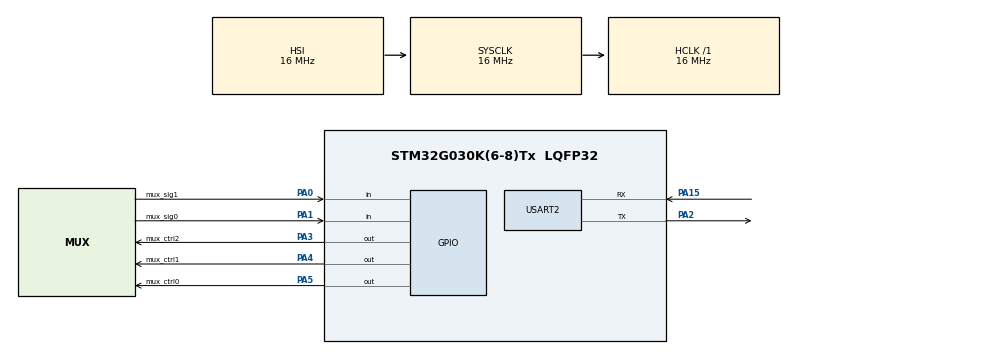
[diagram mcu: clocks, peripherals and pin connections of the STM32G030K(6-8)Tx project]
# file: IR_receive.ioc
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Mcu.Family=STM32G0
Mcu.Name=STM32G030K(6-8)Tx
Mcu.Package=LQFP32
NVIC.TIM1_BRK_UP_TRG_COM_IRQn=true\:0\:0\:false\:false\:true\:true\:true\:true
PA0.GPIO_Label=mux_sig1
PA0.Signal=GPIO_Input
PA1.GPIO_Label=mux_sig0
PA1.Signal=GPIO_Input
PA13.Mode=Serial_Wire
PA13.Signal=SYS_SWDIO
PA14-BOOT0.Mode=Serial_Wire
PA14-BOOT0.Signal=SYS_SWCLK
PA15.Mode=Asynchronous
PA15.Signal=USART2_RX
PA2.Mode=Asynchronous
PA2.Signal=USART2_TX
PA3.GPIO_Label=mux_ctrl2
PA3.Signal=GPIO_Output
PA4.GPIO_Label=mux_ctrl1
PA4.Signal=GPIO_Output
PA5.GPIO_Label=mux_ctrl0
PA5.Signal=GPIO_Output
ProjectManager.HeapSize=0x200
ProjectManager.StackSize=0x400
ProjectManager.TargetToolchain=STM32CubeIDE
RCC.AHBFreq_Value=16000000
RCC.CortexFreq_Value=16000000
RCC.EXTERNAL_CLOCK_VALUE=12288000
RCC.HCLKFreq_Value=16000000
RCC.HSE_VALUE=8000000
RCC.HSI_VALUE=16000000
RCC.LSE_VALUE=32768
RCC.SYSCLKFreq_VALUE=16000000
RCC.VCOOutputFreq_Value=128000000
TIM1.Period=256-1
TIM1.Prescaler=16000-1
USART2.VirtualMode-Asynchronous=VM_ASYNC
VP_TIM1_VS_ClockSourceINT.Mode=Internal
board=custom

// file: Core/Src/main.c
/* USER CODE BEGIN Header */
/**
  ******************************************************************************
  * @file           : main.c
  * @brief          : Main program body
  ******************************************************************************
  * @attention
  *
  * Copyright (c) 2024 STMicroelectronics.
  * All rights reserved.
  *
  * This software is licensed under terms that can be found in the LICENSE file
  * in the root directory of this software component.
  * If no LICENSE file comes with this software, it is provided AS-IS.
  *
  ******************************************************************************
  */
/* USER CODE END Header */
#include "main.h"

/* USER CODE BEGIN Includes */
#include "math.h"

/* USER CODE END Includes */

TIM_HandleTypeDef htim1;

UART_HandleTypeDef huart2;

/* USER CODE BEGIN PV */
uint32_t now = 0;
uint32_t pre = 0;
uint32_t overflow_counter = 0;
double count_all = 0;
double IR_count[16] = {
		0, 0, 0, 0, 0, 0, 0, 0, 0, 0, 0, 0, 0, 0, 0, 0
};
double IR_intensity[16] = {
		0, 0, 0, 0, 0, 0, 0, 0, 0, 0, 0, 0, 0, 0, 0, 0
};
double IR_rad = 0;
double x_vec = 0;
double y_vec = 0;
int16_t angle = 0;
uint8_t send_value = 0;

/* USER CODE END PV */

void SystemClock_Config(void);
static void MX_GPIO_Init(void);
static void MX_USART2_UART_Init(void);
static void MX_TIM1_Init(void);
/* USER CODE BEGIN PFP */
uint32_t time_counter();
void HAL_TIM_PeriodElapsedCallback(TIM_HandleTypeDef *htim);
void get_value();

/* USER CODE END PFP */

/* USER CODE BEGIN 0 */
uint32_t time_counter(){
	return(overflow_counter << 8) + TIM1->CNT;
}

void HAL_TIM_PeriodElapsedCallback(TIM_HandleTypeDef *htim){
	if(htim == &htim1){
		overflow_counter++;
	}
}

void get_value(){
	now = time_counter();
	pre = time_counter();
	while(now - pre < 10){
		now = time_counter();
		count_all++;
		for(uint8_t i = 0; i < 2; i++){
			for(uint8_t j = 0; j < 2; j++){
				for(uint8_t k = 0; k < 2; k++){
					HAL_GPIO_WritePin(mux_ctrl0_GPIO_Port, mux_ctrl0_Pin, k);
					HAL_GPIO_WritePin(mux_ctrl1_GPIO_Port, mux_ctrl1_Pin, j);
					HAL_GPIO_WritePin(mux_ctrl2_GPIO_Port, mux_ctrl2_Pin, i);
					if(i == 0 && j == 0 && k == 0){
						if(HAL_GPIO_ReadPin(mux_sig0_GPIO_Port, mux_sig0_Pin) == 0){
							IR_count[0]++;
						}
						if(HAL_GPIO_ReadPin(mux_sig1_GPIO_Port, mux_sig1_Pin) == 0){
							IR_count[8]++;
						}
					}
					if(i == 0 && j == 0 && k == 1){
						if(HAL_GPIO_ReadPin(mux_sig0_GPIO_Port, mux_sig0_Pin) == 0){
							IR_count[1]++;
						}
						if(HAL_GPIO_ReadPin(mux_sig1_GPIO_Port, mux_sig1_Pin) == 0){
							IR_count[9]++;
						}
					}
					if(i == 0 && j == 1 && k == 0){
						if(HAL_GPIO_ReadPin(mux_sig0_GPIO_Port, mux_sig0_Pin) == 0){
							IR_count[2]++;
						}
						if(HAL_GPIO_ReadPin(mux_sig1_GPIO_Port, mux_sig1_Pin) == 0){
							IR_count[10]++;
						}
					}
					if(i == 0 && j == 1 && k == 1){
						if(HAL_GPIO_ReadPin(mux_sig0_GPIO_Port, mux_sig0_Pin) == 0){
							IR_count[3]++;
						}
						if(HAL_GPIO_ReadPin(mux_sig1_GPIO_Port, mux_sig1_Pin) == 0){
							IR_count[11]++;
						}
					}
					if(i == 1 && j == 0 && k == 0){
						if(HAL_GPIO_ReadPin(mux_sig0_GPIO_Port, mux_sig0_Pin) == 0){
							IR_count[4]++;
						}
						if(HAL_GPIO_ReadPin(mux_sig1_GPIO_Port, mux_sig1_Pin) == 0){
							IR_count[12]++;
						}
					}
					if(i == 1 && j == 0 && k == 1){
						if(HAL_GPIO_ReadPin(mux_sig0_GPIO_Port, mux_sig0_Pin) == 0){
							IR_count[5]++;
						}
						if(HAL_GPIO_ReadPin(mux_sig1_GPIO_Port, mux_sig1_Pin) == 0){
							IR_count[13]++;
						}
					}
					if(i == 1 && j == 1 && k == 0){
						if(HAL_GPIO_ReadPin(mux_sig0_GPIO_Port, mux_sig0_Pin) == 0){
							IR_count[6]++;
						}
						if(HAL_GPIO_ReadPin(mux_sig1_GPIO_Port, mux_sig1_Pin) == 0){
							IR_count[14]++;
						}
					}
					if(i == 1 && j == 1 && k == 1){
						if(HAL_GPIO_ReadPin(mux_sig0_GPIO_Port, mux_sig0_Pin) == 0){
							IR_count[7]++;
						}
						if(HAL_GPIO_ReadPin(mux_sig1_GPIO_Port, mux_sig1_Pin) == 0){
							IR_count[15]++;
						}
					}
				}
			}
		}
	}
	for(uint8_t l = 0; l < 16; l++){
		IR_intensity[l] = IR_count[l] / count_all;
		IR_count[l] = 0;
	}
	count_all = 0;
}

/* USER CODE END 0 */

int main(void)
{

  /* MCU Configuration--------------------------------------------------------*/

  /* Reset of all peripherals, Initializes the Flash interface and the Systick. */
  HAL_Init();

  /* Configure the system clock */
  SystemClock_Config();

  /* Initialize all configured peripherals */
  MX_GPIO_Init();
  MX_USART2_UART_Init();
  MX_TIM1_Init();
  /* USER CODE BEGIN 2 */
  HAL_TIM_Base_Start_IT(&htim1);

  /* USER CODE END 2 */

  /* Infinite loop */
  while (1)
  {

    /* USER CODE BEGIN 3 */
	  get_value();
	  x_vec = 0;
	  y_vec = 0;
	  for(uint8_t i = 0; i < 16; i++){
		  IR_rad = 3.14 + 6.28 * i / 16;
		  x_vec += (IR_intensity[i] * cos(IR_rad));
		  y_vec += (IR_intensity[i] * sin(IR_rad));
	  }
	  angle = atan2(y_vec, x_vec) * 180 / 3.14;
	  if(angle < 0){
		  angle += 360;
	  }
	  send_value = 100 + angle / 5;
	  HAL_UART_Transmit(&huart2, &send_value, 1, 50);

  }
  /* USER CODE END 3 */
}

void SystemClock_Config(void)
{
  RCC_OscInitTypeDef RCC_OscInitStruct = {0};
  RCC_ClkInitTypeDef RCC_ClkInitStruct = {0};

  /** Configure the main internal regulator output voltage
  */
  HAL_PWREx_ControlVoltageScaling(PWR_REGULATOR_VOLTAGE_SCALE1);

  /** Initializes the RCC Oscillators according to the specified parameters
  * in the RCC_OscInitTypeDef structure.
  */
  RCC_OscInitStruct.OscillatorType = RCC_OSCILLATORTYPE_HSI;
  RCC_OscInitStruct.HSIState = RCC_HSI_ON;
  RCC_OscInitStruct.HSIDiv = RCC_HSI_DIV1;
  RCC_OscInitStruct.HSICalibrationValue = RCC_HSICALIBRATION_DEFAULT;
  RCC_OscInitStruct.PLL.PLLState = RCC_PLL_NONE;
  if (HAL_RCC_OscConfig(&RCC_OscInitStruct) != HAL_OK)
  {
    Error_Handler();
  }

  /** Initializes the CPU, AHB and APB buses clocks
  */
  RCC_ClkInitStruct.ClockType = RCC_CLOCKTYPE_HCLK|RCC_CLOCKTYPE_SYSCLK
                              |RCC_CLOCKTYPE_PCLK1;
  RCC_ClkInitStruct.SYSCLKSource = RCC_SYSCLKSOURCE_HSI;
  RCC_ClkInitStruct.AHBCLKDivider = RCC_SYSCLK_DIV1;
  RCC_ClkInitStruct.APB1CLKDivider = RCC_HCLK_DIV1;

  if (HAL_RCC_ClockConfig(&RCC_ClkInitStruct, FLASH_LATENCY_0) != HAL_OK)
  {
    Error_Handler();
  }
}

static void MX_TIM1_Init(void)
{

  TIM_ClockConfigTypeDef sClockSourceConfig = {0};
  TIM_MasterConfigTypeDef sMasterConfig = {0};

  htim1.Instance = TIM1;
  htim1.Init.Prescaler = 16000-1;
  htim1.Init.CounterMode = TIM_COUNTERMODE_UP;
  htim1.Init.Period = 256-1;
  htim1.Init.ClockDivision = TIM_CLOCKDIVISION_DIV1;
  htim1.Init.RepetitionCounter = 0;
  htim1.Init.AutoReloadPreload = TIM_AUTORELOAD_PRELOAD_DISABLE;
  if (HAL_TIM_Base_Init(&htim1) != HAL_OK)
  {
    Error_Handler();
  }
  sClockSourceConfig.ClockSource = TIM_CLOCKSOURCE_INTERNAL;
  if (HAL_TIM_ConfigClockSource(&htim1, &sClockSourceConfig) != HAL_OK)
  {
    Error_Handler();
  }
  sMasterConfig.MasterOutputTrigger = TIM_TRGO_RESET;
  sMasterConfig.MasterOutputTrigger2 = TIM_TRGO2_RESET;
  sMasterConfig.MasterSlaveMode = TIM_MASTERSLAVEMODE_DISABLE;
  if (HAL_TIMEx_MasterConfigSynchronization(&htim1, &sMasterConfig) != HAL_OK)
  {
    Error_Handler();
  }

}

static void MX_USART2_UART_Init(void)
{

  huart2.Instance = USART2;
  huart2.Init.BaudRate = 115200;
  huart2.Init.WordLength = UART_WORDLENGTH_8B;
  huart2.Init.StopBits = UART_STOPBITS_1;
  huart2.Init.Parity = UART_PARITY_NONE;
  huart2.Init.Mode = UART_MODE_TX_RX;
  huart2.Init.HwFlowCtl = UART_HWCONTROL_NONE;
  huart2.Init.OverSampling = UART_OVERSAMPLING_16;
  huart2.Init.OneBitSampling = UART_ONE_BIT_SAMPLE_DISABLE;
  huart2.Init.ClockPrescaler = UART_PRESCALER_DIV1;
  huart2.AdvancedInit.AdvFeatureInit = UART_ADVFEATURE_NO_INIT;
  if (HAL_UART_Init(&huart2) != HAL_OK)
  {
    Error_Handler();
  }

}

static void MX_GPIO_Init(void)
{
  GPIO_InitTypeDef GPIO_InitStruct = {0};

  /* GPIO Ports Clock Enable */
  __HAL_RCC_GPIOA_CLK_ENABLE();

  /*Configure GPIO pin Output Level */
  HAL_GPIO_WritePin(GPIOA, mux_ctrl2_Pin|mux_ctrl1_Pin|mux_ctrl0_Pin, GPIO_PIN_RESET);

  /*Configure GPIO pins : mux_sig1_Pin mux_sig0_Pin */
  GPIO_InitStruct.Pin = mux_sig1_Pin|mux_sig0_Pin;
  GPIO_InitStruct.Mode = GPIO_MODE_INPUT;
  GPIO_InitStruct.Pull = GPIO_NOPULL;
  HAL_GPIO_Init(GPIOA, &GPIO_InitStruct);

  /*Configure GPIO pins : mux_ctrl2_Pin mux_ctrl1_Pin mux_ctrl0_Pin */
  GPIO_InitStruct.Pin = mux_ctrl2_Pin|mux_ctrl1_Pin|mux_ctrl0_Pin;
  GPIO_InitStruct.Mode = GPIO_MODE_OUTPUT_PP;
  GPIO_InitStruct.Pull = GPIO_NOPULL;
  GPIO_InitStruct.Speed = GPIO_SPEED_FREQ_LOW;
  HAL_GPIO_Init(GPIOA, &GPIO_InitStruct);

}

void Error_Handler(void)
{
  __disable_irq();
  while (1)
  {
  }
}
